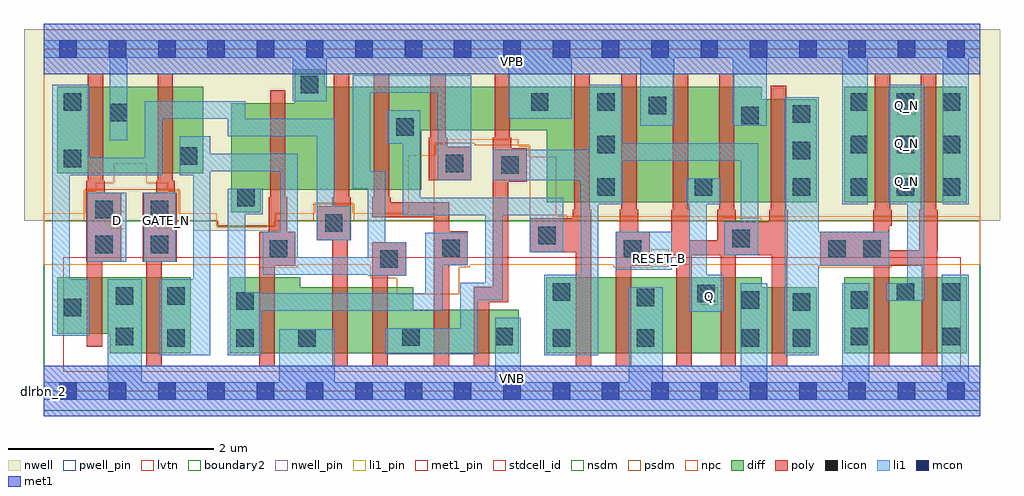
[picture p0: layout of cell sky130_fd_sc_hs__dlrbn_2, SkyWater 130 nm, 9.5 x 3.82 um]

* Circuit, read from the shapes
.subckt sky130_fd_sc_hs__dlrbn_2 D GATE_N Q Q_N RESET_B VGND VNB VPB VPWR
XM1 VGND D n1 VNB sky130_fd_pr__nfet_01v8_lvt w=0.55 l=0.15
XM2 n2 GATE_N VGND VNB sky130_fd_pr__nfet_01v8_lvt w=0.74 l=0.15
XM3 VGND n2 n3 VNB sky130_fd_pr__nfet_01v8_lvt w=0.74 l=0.15
XM4 n4 n1 VGND VNB sky130_fd_pr__nfet_01v8_lvt w=0.64 l=0.15
XM5 n5 n2 n4 VNB sky130_fd_pr__nfet_01v8_lvt w=0.64 l=0.15
XM6 n6 n3 n5 VNB sky130_fd_pr__nfet_01v8_lvt w=0.42 l=0.15
XM7 VGND n7 n6 VNB sky130_fd_pr__nfet_01v8_lvt w=0.42 l=0.15
XM8 n8 n5 n7 VNB sky130_fd_pr__nfet_01v8_lvt w=0.74 l=0.15
XM9 VGND RESET_B n8 VNB sky130_fd_pr__nfet_01v8_lvt w=0.74 l=0.15
XM10 Q n7 VGND VNB sky130_fd_pr__nfet_01v8_lvt w=0.74 l=0.15 m=2
XM11 n9 n7 VGND VNB sky130_fd_pr__nfet_01v8_lvt w=0.64 l=0.15
XM12 Q_N n9 VGND VNB sky130_fd_pr__nfet_01v8_lvt w=0.74 l=0.15 m=2
XM13 VPWR D n1 VPB sky130_fd_pr__pfet_01v8 w=0.84 l=0.15
XM14 n2 GATE_N VPWR VPB sky130_fd_pr__pfet_01v8 w=0.84 l=0.15
XM15 VPWR n2 n3 VPB sky130_fd_pr__pfet_01v8 w=0.84 l=0.15
XM16 n10 n1 VPWR VPB sky130_fd_pr__pfet_01v8 w=1 l=0.15
XM17 n5 n3 n10 VPB sky130_fd_pr__pfet_01v8 w=1 l=0.15
XM18 n11 n2 n5 VPB sky130_fd_pr__pfet_01v8 w=0.42 l=0.15
XM19 VPWR n7 n11 VPB sky130_fd_pr__pfet_01v8 w=0.42 l=0.15
XM20 n7 n5 VPWR VPB sky130_fd_pr__pfet_01v8 w=1.12 l=0.15
XM21 VPWR RESET_B n7 VPB sky130_fd_pr__pfet_01v8 w=1.12 l=0.15
XM22 Q n7 VPWR VPB sky130_fd_pr__pfet_01v8 w=1.12 l=0.15 m=2
XM23 n9 n7 VPWR VPB sky130_fd_pr__pfet_01v8 w=1 l=0.15
XM24 Q_N n9 VPWR VPB sky130_fd_pr__pfet_01v8 w=1.12 l=0.15 m=2
.ends

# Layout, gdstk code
import gdstk
lib = gdstk.Library(unit=1e-6, precision=1e-09)
def R(c, l, rs):  # rectangles x0, y0, x1, y1
    for r in rs: c.add(gdstk.rectangle(r[:2], r[2:], *l))
def A(c, l, x, y, w, h, nx, ny, dx, dy):  # array of equal rectangles
    R(c, l, [(x+i*dx, y+j*dy, x+i*dx+w, y+j*dy+h) for i in range(nx) for j in range(ny)])
def P(c, l, *ps):  # polygons
    for p in ps: c.add(gdstk.Polygon(p, *l))
nwell_pin = (64, 16)
nwell = (64, 20)
diff = (65, 20)
poly = (66, 20)
licon = (66, 44)
li1_pin = (67, 16)
li1 = (67, 20)
mcon = (67, 44)
met1_pin = (68, 16)
met1 = (68, 20)
stdcell_id = (81, 4)
nsdm = (93, 44)
psdm = (94, 20)
npc = (95, 20)
pwell_pin = (122, 16)
lvtn = (125, 44)
boundary2 = (236, 0)

sky130_fd_sc_hs__dlrbn_2 = lib.new_cell('sky130_fd_sc_hs__dlrbn_2')
R(sky130_fd_sc_hs__dlrbn_2, nwell_pin, [(0,3.085,9.12,3.33)])
P(sky130_fd_sc_hs__dlrbn_2, nwell, [(9.31,3.52),(-0.19,3.52),(-0.19,1.66),(1.455,1.66),(1.455,1.56),(2.295,1.56),(2.295,1.66),(9.31,1.66)])
R(sky130_fd_sc_hs__dlrbn_2, diff, [(7.795,0.37,8.985,1.11), (7.795,1.84,8.985,2.96), (0.135,2.12,1.555,2.96)])
P(sky130_fd_sc_hs__dlrbn_2, diff, [(1.435,1.11),(0.135,1.11),(0.135,0.56),(0.645,0.56),(0.645,0.37),(1.435,0.37)],
  [(4.625,0.79),(3.6,0.79),(3.6,1.01),(2.5,1.01),(2.5,1.11),(1.815,1.11),(1.815,0.37),(4.625,0.37)],
  [(7.525,2.84),(6.99,2.84),(6.99,2.96),(2.735,2.96),(2.735,3.13),(2.445,3.13),(2.445,2.8),(1.825,2.8),(1.825,1.74),(2.115,1.74),(2.115,1.96),(3.675,1.96),(3.675,2.54),(4.9,2.54),(4.9,1.84),(7.525,1.84)],
  [(7.525,1.01),(6.99,1.01),(6.99,1.11),(4.895,1.11),(4.895,0.37),(7.525,0.37)])
P(sky130_fd_sc_hs__dlrbn_2, poly, [(2.99,1.885),(2.975,1.885),(2.975,3.09),(2.825,3.09),(2.825,1.885),(2.81,1.885),(2.81,1.8),(2.66,1.8),(2.66,1.47),(2.81,1.47),(2.81,0.24),(2.96,0.24),(2.96,1.47),(2.99,1.47)],
  [(2.45,1.55),(2.37,1.55),(2.37,1.885),(2.355,1.885),(2.355,2.93),(2.205,2.93),(2.205,1.885),(2.19,1.885),(2.19,1.55),(2.1,1.55),(2.1,0.24),(2.25,0.24),(2.25,1.22),(2.45,1.22)],
  [(1.295,1.93),(1.275,1.93),(1.275,2.045),(1.26,2.045),(1.26,3.09),(1.11,3.09),(1.11,2.045),(1.095,2.045),(1.095,1.93),(0.965,1.93),(0.965,1.26),(1,1.26),(1,0.24),(1.15,0.24),(1.15,1.26),(1.295,1.26)],
  [(0.755,1.93),(0.595,1.93),(0.595,2.045),(0.58,2.045),(0.58,3.09),(0.43,3.09),(0.43,2.045),(0.415,2.045),(0.415,1.26),(0.42,1.26),(0.42,0.43),(0.57,0.43),(0.57,1.26),(0.755,1.26)],
  [(3.53,1.45),(3.2,1.45),(3.2,0.24),(3.35,0.24),(3.35,1.12),(3.53,1.12)],
  [(4.13,1.555),(3.95,1.555),(3.95,1.84),(3.38,1.84),(3.38,1.885),(3.365,1.885),(3.365,3.09),(3.215,3.09),(3.215,1.885),(3.2,1.885),(3.2,1.69),(3.8,1.69),(3.8,0.24),(3.95,0.24),(3.95,1.225),(4.13,1.225)],
  [(4.165,2.38),(3.93,2.38),(3.93,2.465),(3.915,2.465),(3.915,3.09),(3.765,3.09),(3.765,2.465),(3.75,2.465),(3.75,2.05),(4.165,2.05)],
  [(4.705,2.365),(4.555,2.365),(4.555,2.465),(4.54,2.465),(4.54,3.09),(4.39,3.09),(4.39,2.465),(4.375,2.465),(4.375,1.015),(4.19,1.015),(4.19,0.24),(4.34,0.24),(4.34,0.865),(4.525,0.865),(4.525,2.035),(4.705,2.035)],
  [(5.33,1.765),(5.315,1.765),(5.315,3.09),(5.165,3.09),(5.165,1.765),(5.15,1.765),(5.15,1.68),(4.735,1.68),(4.735,1.35),(5.18,1.35),(5.18,0.24),(5.33,0.24)],
  [(5.9,1.55),(5.79,1.55),(5.79,1.765),(5.775,1.765),(5.775,3.09),(5.625,3.09),(5.625,1.765),(5.61,1.765),(5.61,1.55),(5.57,1.55),(5.57,0.24),(5.72,0.24),(5.72,1.22),(5.9,1.22)],
  [(7.245,1.765),(7.23,1.765),(7.23,2.97),(7.08,2.97),(7.08,1.765),(7.065,1.765),(7.065,1.65),(6.74,1.65),(6.74,1.765),(6.725,1.765),(6.725,3.09),(6.575,3.09),(6.575,1.765),(6.56,1.765),(6.56,1.47),(6.29,1.47),(6.29,1.765),(6.275,1.765),(6.275,3.09),(6.125,3.09),(6.125,1.765),(6.11,1.765),(6.11,1.32),(6.16,1.32),(6.16,0.24),(6.31,0.24),(6.31,1.32),(6.59,1.32),(6.59,0.24),(6.74,0.24),(6.74,1.32),(7.09,1.32),(7.09,0.24),(7.24,0.24),(7.24,1.32),(7.245,1.32)],
  [(8.705,1.765),(8.69,1.765),(8.69,3.09),(8.54,3.09),(8.54,1.765),(8.525,1.765),(8.525,1.37),(8.23,1.37),(8.23,1.61),(8.255,1.61),(8.255,1.765),(8.24,1.765),(8.24,3.09),(8.09,3.09),(8.09,1.765),(8.075,1.765),(8.075,1.55),(7.56,1.55),(7.56,1.22),(8.08,1.22),(8.08,0.24),(8.23,0.24),(8.23,1.22),(8.55,1.22),(8.55,0.24),(8.7,0.24),(8.7,1.37),(8.705,1.37)])
A(sky130_fd_sc_hs__dlrbn_2, licon, 5.39, 1.9, 0.17, 0.17, 1, 3, 0, 0.415)
A(sky130_fd_sc_hs__dlrbn_2, licon, 7.295, 1.9, 0.17, 0.17, 1, 3, 0, 0.355)
A(sky130_fd_sc_hs__dlrbn_2, licon, 7.855, 1.9, 0.17, 0.17, 3, 3, 0.45, 0.415)
R(sky130_fd_sc_hs__dlrbn_2, licon, [(1.205,0.43,1.375,0.6), (1.875,0.43,2.045,0.6), (2.48,0.43,2.65,0.6), (4.955,0.43,5.125,0.6), (5.775,0.43,5.945,0.6), (6.795,0.43,6.965,0.6), (7.295,0.43,7.465,0.6), (3.49,0.44,3.66,0.61), (0.705,0.445,0.875,0.615), (4.395,0.445,4.565,0.615), (7.855,0.445,8.025,0.615), (8.755,0.445,8.925,0.615), (0.195,0.73,0.365,0.9), (7.295,0.78,7.465,0.95), (1.875,0.79,2.045,0.96), (6.795,0.8,6.965,0.97), (7.855,0.8,8.025,0.97), (5.775,0.825,5.945,0.995), (0.705,0.84,0.875,1.01), (1.205,0.84,1.375,1.01), (6.365,0.865,6.535,1.035), (4.955,0.88,5.125,1.05), (8.305,0.88,8.475,1.05), (8.755,0.88,8.925,1.05), (3.28,1.2,3.45,1.37), (2.2,1.3,2.37,1.47), (5.65,1.3,5.82,1.47), (7.64,1.3,7.81,1.47), (7.98,1.3,8.15,1.47), (3.88,1.305,4.05,1.475), (0.505,1.34,0.675,1.51), (1.045,1.34,1.215,1.51), (6.705,1.4,6.875,1.57), (4.815,1.43,4.985,1.6), (2.74,1.55,2.91,1.72), (0.505,1.68,0.675,1.85), (1.045,1.68,1.215,1.85), (1.885,1.8,2.055,1.97), (6.34,1.9,6.51,2.07), (4.455,2.115,4.625,2.285), (3.915,2.13,4.085,2.3), (0.195,2.18,0.365,2.35), (1.325,2.205,1.495,2.375), (3.435,2.485,3.605,2.655), (6.79,2.595,6.96,2.765), (0.645,2.625,0.815,2.795), (5.89,2.695,6.06,2.865), (0.195,2.73,0.365,2.9), (4.745,2.73,4.915,2.9), (2.505,2.9,2.675,3.07)])
A(sky130_fd_sc_hs__dlrbn_2, li1_pin, 8.315, 1.95, 0.17, 0.17, 1, 3, 0, 0.37)
R(sky130_fd_sc_hs__dlrbn_2, li1_pin, [(6.395,0.84,6.565,1.01), (5.915,1.21,6.085,1.38), (0.635,1.58,0.805,1.75), (1.115,1.58,1.285,1.75)])
R(sky130_fd_sc_hs__dlrbn_2, li1, [(5.57,1.18,6.115,1.55), (0.425,1.26,0.805,1.93), (0.975,1.26,1.285,1.93)])
P(sky130_fd_sc_hs__dlrbn_2, li1, [(6.285,0.77),(6.285,1.82),(6.26,1.82),(6.26,2.07),(6.59,2.07),(6.59,1.82),(6.455,1.82),(6.455,1.13),(6.615,1.13),(6.615,0.77)],
  [(0.645,2.44),(0.645,3.245),(0,3.245),(0,3.415),(9.12,3.415),(9.12,3.245),(9.005,3.245),(9.005,1.82),(8.755,1.82),(8.755,3.245),(8.025,3.245),(8.025,1.82),(7.775,1.82),(7.775,3.245),(7.04,3.245),(7.04,2.58),(6.71,2.58),(6.71,3.245),(6.14,3.245),(6.14,2.58),(5.81,2.58),(5.81,3.245),(5.14,3.245),(5.14,2.65),(4.525,2.65),(4.525,3.245),(2.755,3.245),(2.755,2.82),(2.425,2.82),(2.425,3.245),(0.815,3.245),(0.815,2.44)],
  [(0.625,0.085),(0.625,1.09),(0.955,1.09),(0.955,0.085),(2.295,0.085),(2.295,0.6),(2.835,0.6),(2.835,0.085),(4.395,0.085),(4.395,0.715),(4.645,0.715),(4.645,0.085),(5.695,0.085),(5.695,1.01),(6.025,1.01),(6.025,0.085),(6.785,0.085),(6.785,1.05),(7.045,1.05),(7.045,0.085),(7.775,0.085),(7.775,1.05),(8.035,1.05),(8.035,0.085),(8.745,0.085),(8.745,1.13),(9.005,1.13),(9.005,0.085),(9.12,0.085),(9.12,-0.085),(0,-0.085),(0,0.085)],
  [(3.325,0.36),(3.325,0.61),(4.055,0.61),(4.055,1.055),(4.3,1.055),(4.3,1.71),(3.495,1.71),(3.495,2.405),(3.35,2.405),(3.35,2.735),(3.665,2.735),(3.665,1.88),(5.06,1.88),(5.06,1.35),(4.735,1.35),(4.735,1.71),(4.47,1.71),(4.47,0.885),(4.225,0.885),(4.225,0.36)],
  [(5.64,2.41),(6.955,2.41),(6.955,1.32),(6.625,1.32),(6.625,1.65),(6.785,1.65),(6.785,2.24),(5.64,2.24),(5.64,1.82),(5.4,1.82),(5.4,0.35),(4.875,0.35),(4.875,1.13),(5.23,1.13),(5.23,2.05),(4.375,2.05),(4.375,2.35),(5.31,2.35),(5.31,2.98),(5.64,2.98)],
  [(7.215,0.35),(7.215,2.86),(7.545,2.86),(7.545,1.55),(8.23,1.55),(8.23,1.22),(7.545,1.22),(7.545,0.35)],
  [(2.125,0.95),(3.715,0.95),(3.715,1.54),(4.13,1.54),(4.13,1.225),(3.885,1.225),(3.885,0.78),(2.125,0.78),(2.125,0.35),(1.795,0.35),(1.795,1.97),(2.135,1.97),(2.135,1.72),(1.965,1.72),(1.965,0.96),(2.125,0.96)],
  [(3.01,1.97),(3.01,3.075),(4.165,3.075),(4.165,2.05),(3.835,2.05),(3.835,2.905),(3.18,2.905),(3.18,2.14),(3.325,2.14),(3.325,1.45),(3.53,1.45),(3.53,1.12),(3.155,1.12),(3.155,1.13),(2.135,1.13),(2.135,1.55),(2.305,1.55),(2.305,2.14),(1.625,2.14),(1.625,0.35),(1.125,0.35),(1.125,1.09),(1.455,1.09),(1.455,2.1),(1.325,2.1),(1.325,2.48),(1.625,2.48),(1.625,2.31),(2.475,2.31),(2.475,1.3),(3.155,1.3),(3.155,1.97)],
  [(0.985,2.27),(0.985,2.82),(1.965,2.82),(1.965,2.65),(2.83,2.65),(2.83,1.8),(2.985,1.8),(2.985,1.47),(2.66,1.47),(2.66,2.48),(1.795,2.48),(1.795,2.65),(1.155,2.65),(1.155,2.1),(0.255,2.1),(0.255,1.09),(0.445,1.09),(0.445,0.54),(0.085,0.54),(0.085,2.98),(0.445,2.98),(0.445,2.27)],
  [(8.225,1.82),(8.225,2.98),(8.575,2.98),(8.575,0.88),(8.205,0.88),(8.205,1.05),(8.405,1.05),(8.405,1.82)])
A(sky130_fd_sc_hs__dlrbn_2, mcon, 0.155, -0.085, 0.17, 0.17, 19, 2, 0.48, 3.33)
R(sky130_fd_sc_hs__dlrbn_2, met1_pin, [(0,0,9.12,0.245), (0,3.085,9.12,3.33)])
R(sky130_fd_sc_hs__dlrbn_2, met1, [(0,-0.245,9.12,0.245), (0,3.085,9.12,3.575)])
R(sky130_fd_sc_hs__dlrbn_2, stdcell_id, [(0,0,9.12,3.33)])
P(sky130_fd_sc_hs__dlrbn_2, nsdm, [(9.12,1.66),(2.245,1.66),(2.245,1.61),(1.695,1.61),(1.695,1.66),(0,1.66),(0,-0.19),(9.12,-0.19)])
P(sky130_fd_sc_hs__dlrbn_2, psdm, [(9.12,3.52),(0,3.52),(0,1.66),(0.395,1.66),(0.395,1.96),(1.325,1.96),(1.325,1.66),(1.695,1.66),(1.695,1.61),(2.245,1.61),(2.245,1.66),(2.63,1.66),(2.63,1.83),(3.02,1.83),(3.02,1.66),(3.805,1.66),(3.805,2.41),(4.195,2.41),(4.195,2.395),(4.735,2.395),(4.735,1.71),(5.095,1.71),(5.095,1.66),(6.595,1.66),(6.595,1.68),(6.985,1.68),(6.985,1.66),(9.12,1.66)])
P(sky130_fd_sc_hs__dlrbn_2, npc, [(9.12,1.7),(4.99,1.7),(4.99,2.28),(4.725,2.28),(4.725,2.385),(4.62,2.385),(4.62,2.45),(3.92,2.45),(3.92,2.4),(3.815,2.4),(3.815,2.295),(3.55,2.295),(3.55,1.73),(3.01,1.73),(3.01,1.82),(2.64,1.82),(2.64,1.73),(2.255,1.73),(2.255,1.6),(1.685,1.6),(1.685,1.73),(1.315,1.73),(1.315,1.95),(1.21,1.95),(1.21,2.03),(1.005,2.03),(1.005,2.215),(0.685,2.215),(0.685,2.03),(0.51,2.03),(0.51,1.95),(0.405,1.95),(0.405,1.73),(0,1.73),(0,1.23),(2.1,1.23),(2.1,1.2),(2.47,1.2),(2.47,1.23),(3.18,1.23),(3.18,1.1),(3.44,1.1),(3.44,0.94),(4.045,0.94),(4.045,1.205),(4.15,1.205),(4.15,1.23),(5.55,1.23),(5.55,1.2),(5.92,1.2),(5.92,1.23),(7.54,1.23),(7.54,1.2),(8.25,1.2),(8.25,1.23),(9.12,1.23)])
R(sky130_fd_sc_hs__dlrbn_2, pwell_pin, [(0,0,9.12,0.245)])
R(sky130_fd_sc_hs__dlrbn_2, lvtn, [(0.19,0.19,8.93,1.3)])
R(sky130_fd_sc_hs__dlrbn_2, boundary2, [(0,0,9.12,3.33)])
sky130_fd_sc_hs__dlrbn_2.add(gdstk.Label('dlrbn_2', (0,0), layer=83, texttype=44))
sky130_fd_sc_hs__dlrbn_2.add(gdstk.Label('VNB', (4.56,0.123), layer=64, texttype=59))
sky130_fd_sc_hs__dlrbn_2.add(gdstk.Label('VPB', (4.56,3.208), layer=64, texttype=5))
sky130_fd_sc_hs__dlrbn_2.add(gdstk.Label('VPWR', (4.56,3.208), layer=68, texttype=5))
sky130_fd_sc_hs__dlrbn_2.add(gdstk.Label('VGND', (4.56,0.123), layer=68, texttype=5))
sky130_fd_sc_hs__dlrbn_2.add(gdstk.Label('D', (0.72,1.665), layer=67, texttype=5))
sky130_fd_sc_hs__dlrbn_2.add(gdstk.Label('GATE_N', (1.2,1.665), layer=67, texttype=5))
sky130_fd_sc_hs__dlrbn_2.add(gdstk.Label('RESET_B', (6,1.295), layer=67, texttype=5))
sky130_fd_sc_hs__dlrbn_2.add(gdstk.Label('Q', (6.48,0.925), layer=67, texttype=5))
sky130_fd_sc_hs__dlrbn_2.add(gdstk.Label('Q_N', (8.4,2.035), layer=67, texttype=5))
sky130_fd_sc_hs__dlrbn_2.add(gdstk.Label('Q_N', (8.4,2.405), layer=67, texttype=5))
sky130_fd_sc_hs__dlrbn_2.add(gdstk.Label('Q_N', (8.4,2.775), layer=67, texttype=5))

lib.write_gds('sky130_fd_sc_hs__dlrbn_2.gds')
